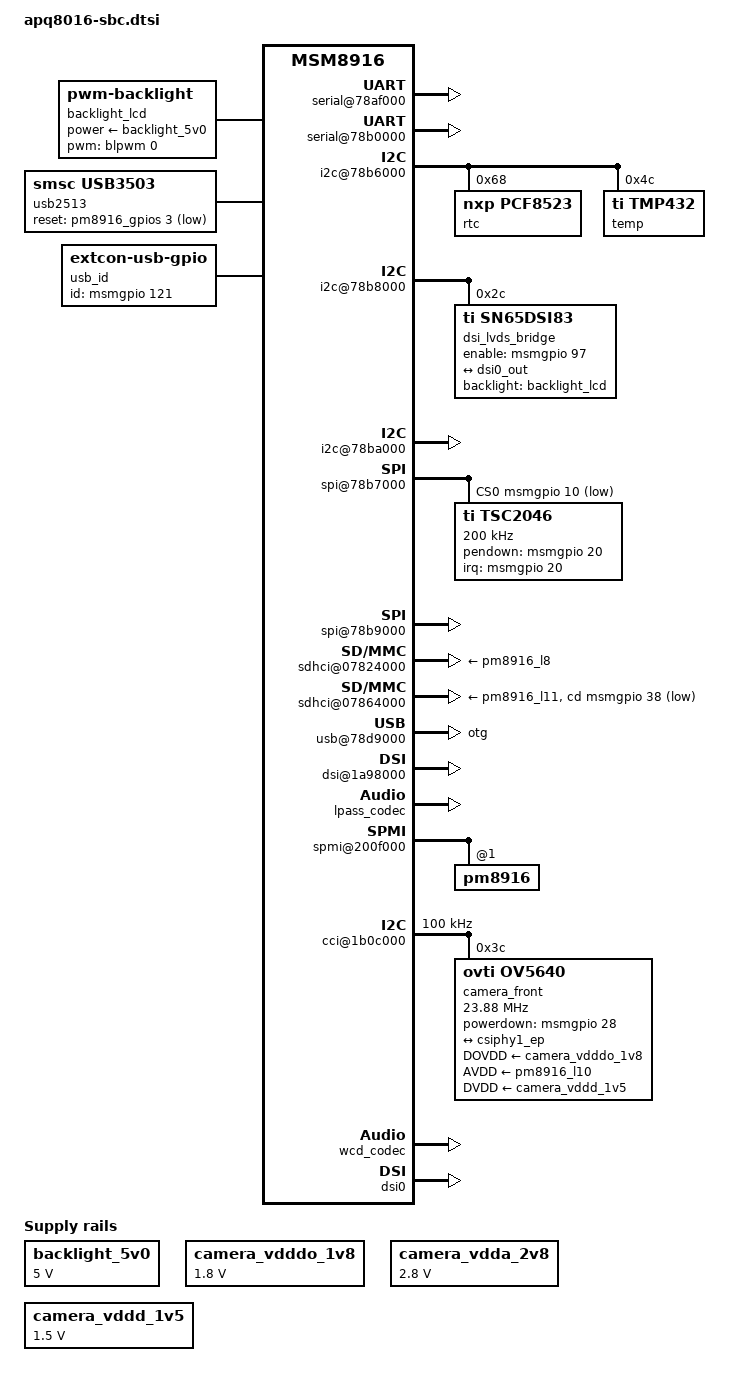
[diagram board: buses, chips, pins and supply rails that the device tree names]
/*
 * Copyright (c) 2015, The Linux Foundation. All rights reserved.
 *
 * This program is free software; you can redistribute it and/or modify
 * it under the terms of the GNU General Public License version 2 and
 * only version 2 as published by the Free Software Foundation.
 *
 * This program is distributed in the hope that it will be useful,
 * but WITHOUT ANY WARRANTY; without even the implied warranty of
 * MERCHANTABILITY or FITNESS FOR A PARTICULAR PURPOSE.  See the
 * GNU General Public License for more details.
 */

#include "msm8916.dtsi"
#include "pm8916.dtsi"
#include "apq8016-sbc-soc-pins.dtsi"
#include "apq8016-sbc-pmic-pins.dtsi"
#include <dt-bindings/gpio/gpio.h>
#include <dt-bindings/input/input.h>
#include <dt-bindings/sound/apq8016-lpass.h>

/ {
	aliases {
		serial0 = &blsp1_uart2;
		serial1 = &blsp1_uart1;
		usid0 = &pm8916_0;
		i2c0	= &blsp_i2c2;
		i2c1	= &blsp_i2c6;
		i2c3	= &blsp_i2c4;
		spi0	= &blsp_spi5;
		spi1	= &blsp_spi3;
	};

	chosen {
		stdout-path = "serial0";
	};

	reserved-memory {
		ramoops@bff00000{
			compatible = "ramoops";
			reg = <0x0 0xbff00000 0x0 0x100000>;

			record-size = <0x20000>;
			console-size = <0x20000>;
			ftrace-size = <0x20000>;
		};
	};


    backlight_5v0: fixedregulator@3 {
        compatible = "regulator-fixed";
        regulator-name = "backlight_5v0";
        regulator-min-microvolt = <5000000>;
        regulator-max-microvolt = <5000000>;
        regulator-always-on;
        status = "okay";
    };

    backlight_lcd: backlight {
        compatible = "pwm-backlight";
        pwms = <&blpwm 0 50000 >;
		brightness-levels = < 0  1  2  3  4  5  6  7  8  9
				     10 11 12 13 14 15 16 17 18 19
				     20 21 22 23 24 25 26 27 28 29
				     30 31 32 33 34 35 36 37 38 39
				     40 41 42 43 44 45 46 47 48 49
				     50 51 52 53 54 55 56 57 58 59
				     60 61 62 63 64 65 66 67 68 69
				     70 71 72 73 74 75 76 77 78 79
				     80 81 82 83 84 85 86 87 88 89
				     90 91 92 93 94 95 96 97 98 99
				    100>;
		default-brightness-level = <90>;
        power-supply = <&backlight_5v0>;        
        status = "okay";
    };


	soc {
		dma@7884000 {
			status = "okay";
		};

		serial@78af000 {
			label = "LS-UART0";
			status = "okay";
			pinctrl-names = "default", "sleep";
			pinctrl-0 = <&blsp1_uart1_default>;
			pinctrl-1 = <&blsp1_uart1_sleep>;
		};

		serial@78b0000 {
			label = "LS-UART1";
			status = "okay";
			pinctrl-names = "default", "sleep";
			pinctrl-0 = <&blsp1_uart2_default>;
			pinctrl-1 = <&blsp1_uart2_sleep>;
		};

		/* I2C-0 */
		i2c@78b6000 {
		/* On Low speed expansion */
			label = "LS-I2C0";
			status = "okay";

			/* RTC */
			rtc: pcf8523@66 {
                compatible = "nxp,pcf8523";
                reg = <0x68>;
			};

			/* Temperature sensor */
			temp: tmp432a@4c {
                compatible = "ti,tmp432", "tmp401";
                reg = <0x4c>;
			};
		};

		/* I2C-3 */
		i2c@78b8000 {
		/* On High speed expansion */
			label = "HS-I2C2";
			status = "okay";

            /* capacitive touch screens */

            pcap: ft5x06@38 {
                compatible = "focaltech,ft5x06";
                reg = <0x38>;
                interrupt-parent = <&msmgpio>;
                interrupts = <21 0>;
                reset-gpio = <&msmgpio 60 1>;
                linux,wakeup;
                status = "disabled";
            };

            pcap2: ilitek@41 {
                compatible = "tchip,ilitek";
                reg = <0x41>;
                interrupt-parent = <&msmgpio>;
                interrupts = <21 0>;
                touch-gpio = <&msmgpio 21 0>;
                reset-gpio = <&msmgpio 60 1>;
                linux,wakeup;
                status = "disabled";
            };

            pcap3: eeti@2a {
                compatible = "eeti,egalax_i2c";
                reg = <0x2A>;
                interrupt-parent = <&msmgpio>;
                interrupts = <21 0>;
                int-gpios = <&msmgpio 21 0>;
                linux,wakeup;
                status = "disabled";
            };

            /* DSI to LVDS bridge */
			dsi_lvds_bridge: sn65dsi83@2c {
				compatible = "ti,sn65dsi83";
				reg = <0x2c>;
				ti,dsi-lanes = <4>;
				ti,lvds-format = <1>;
				ti,lvds-bpp = <24>;
				ti,width-mm = <197>;
				ti,height-mm = <147>;
				enable-gpios = <&msmgpio 97 GPIO_ACTIVE_HIGH>;
				pinctrl-names = "default", "sleep";
				pinctrl-0 = <&sn65dsi83_int_active>;
				pinctrl-1 = <&sn65dsi83_int_suspend>;
				status = "okay";

                backlight = <&backlight_lcd>;

				ports {
					#address-cells = <1>;
					#size-cells = <0>;

					port@0 {
						reg = <0>;
						sn65dsi83_in: endpoint {
							remote-endpoint = <&dsi0_out>;
						};
					};
				};

				/* timings set individually in board specific DTS files */
				display-timings {

					lvds:lvds{
					};

				};
				
			};
		};

		/* I2C-1 */
		i2c@78ba000 {
		/* On Low speed expansion */
			label = "LS-I2C1";
			status = "okay";
		};

		spi@78b7000 {
		/* On High speed expansion */
			label = "HS-SPI1";
			status = "okay";
			num-cs = <2>;
			cs-gpios = <&msmgpio 10 GPIO_ACTIVE_LOW>,
                       <&msmgpio 69 GPIO_ACTIVE_LOW>;
			spi-max-frequency = <200000>;

			/* resistive touch screen */
			tsc2046: tsc2046@0 {
				compatible = "ti,tsc2046";
				reg = <0>;
				spi-max-frequency = <200000>;
				pinctrl-names ="default";
				pinctrl-0 = <&restouch_int_active>;
				interrupt-parent = <&msmgpio>;
				interrupts = <20 0>;
				pendown-gpio = <&msmgpio 20 GPIO_ACTIVE_HIGH>;
				ti,x-min = /bits/ 16 <0>;
				ti,x-max = /bits/ 16 <0>;
				ti,y-min = /bits/ 16 <0>;
				ti,y-max = /bits/ 16 <0>;
				ti,pressure-max = /bits/ 16 <0>;
				ti,x-plate-ohms = /bits/ 16 <400>;
				wakeup-source;
			};

		};

		/* for calculating baud rate out of 24MHz crystal */
		spi2uart_clk: spi2uart_clk {
			compatible = "fixed-clock";
			#clock-cells = <0>;
			clock-frequency = <24000000>;
			clock-accuracy = <100>;
		};

		spi@78b9000 {
		/* On Low speed expansion */
			label = "LS-SPI0";
			status = "okay";
			spi-max-frequency = <1000000>;
			
			num-cs = <1>;
			cs-gpios = <&msmgpio 18 GPIO_ACTIVE_LOW>;

			spi2uart: spi2uart@0 {
				status = "disabled";
				compatible = "exar,xrm117x";
				reg = <0>; /* CS #0 */
				clocks = <&spi2uart_clk>;
				interrupt-parent = <&msmgpio>;
				interrupts = <25 0>; /* IRQ_TYPE_EDGE_FALLING */
				spi-max-frequency = <1000000>;
				pinctrl-names = "default";
				pinctrl-0 = <&xr20m1170_int_active>;
			};
		};

		sdhci@07824000 {
			vmmc-supply = <&pm8916_l8>;
			vqmmc-supply = <&pm8916_l5>;

			pinctrl-names = "default", "sleep";
			pinctrl-0 = <&sdc1_clk_on &sdc1_cmd_on &sdc1_data_on>;
			pinctrl-1 = <&sdc1_clk_off &sdc1_cmd_off &sdc1_data_off>;
			status = "okay";
		};

		sdhci@07864000 {
			vmmc-supply = <&pm8916_l11>;
			vqmmc-supply = <&pm8916_l12>;

			pinctrl-names = "default", "sleep";
			pinctrl-0 = <&sdc2_clk_on &sdc2_cmd_on &sdc2_data_on &sdc2_cd_on>;
			pinctrl-1 = <&sdc2_clk_off &sdc2_cmd_off &sdc2_data_off &sdc2_cd_off>;

			cd-gpios = <&msmgpio 38 0x1>;
			status = "okay";
		};

		usb@78d9000 {
			extcon = <&usb_id>, <&usb_id>;
			status = "okay";
			adp-disable;
			hnp-disable;
			srp-disable;
			dr_mode = "otg";
			pinctrl-names = "default", "device";
			pinctrl-0 = <&usb_sw_sel_pm &usb_hub_reset_pm &usb_eth_default>;
			pinctrl-1 = <&usb_sw_sel_pm_device &usb_hub_reset_pm_device &usb_eth_off>;
			ulpi {
				phy {
					v1p8-supply = <&pm8916_l7>;
					v3p3-supply = <&pm8916_l13>;
					extcon = <&usb_id>;
				};
			};
		};

		mdss@1a00000 {
			status = "okay";

			mdp@1a01000 {
				status = "okay";
			};

			dsi@1a98000 {
				status = "okay";

				vdda-supply = <&pm8916_l2>;
				vddio-supply = <&pm8916_l6>;

			};

			dsi-phy@1a98300 {
				status = "okay";

				vddio-supply = <&pm8916_l6>;
			};
		};

		lpass_codec: codec{
			status = "okay";
		};

		lpass@07708000 {
			status = "okay";
		};

		/*
		Internal Codec
			playback - Primary MI2S
			capture - Ter MI2S

		External Primary:
			playback - secondary MI2S
			capture - Quat MI2S

		External Secondary:
			playback - Quat MI2S
			capture - Quat MI2S

		*/

                sound: sound {
                        compatible = "qcom,apq8016-sbc-sndcard";
                        reg = <0x07702000 0x4>, <0x07702004 0x4>;
                        reg-names = "mic-iomux", "spkr-iomux";

                        status = "okay";

                        pinctrl-0 = <&cdc_pdm_lines_act &ext_mclk_tlmm_lines_act>;
                        pinctrl-1 = <&cdc_pdm_lines_sus &ext_mclk_tlmm_lines_sus>;

                        pinctrl-names = "default", "sleep";
                        qcom,model = "DB1";
                        qcom,audio-routing =	
								"AMIC2", "MIC BIAS Internal2",
								"AMIC3", "MIC BIAS External1";
                                


                        internal-codec-playback-dai-link@0 {            /* I2S - Internal codec */
                                link-name = "WCD";
                                cpu {  /* PRIMARY */
                                        sound-dai = <&lpass MI2S_PRIMARY>;
                                };
                                codec {
                                        sound-dai = <&lpass_codec 0>, <&wcd_codec 0>;
                                };

                        };

                        internal-codec-capture-dai-link@0 {             /* I2S - Internal codec */
                                link-name = "WCD-Capture";
                                cpu { /* PRIMARY */
                                        sound-dai = <&lpass MI2S_TERTIARY>;
                                };
                                codec {
                                        sound-dai = <&lpass_codec 1>, <&wcd_codec 1>;
                                };
                        };
                };

		spmi@200f000 {
			pm8916@1 {
				blpwm: pwm@bc00 {
					status = "okay";

					pinctrl-names = "default";
					pinctrl-0 = <&ls_exp_gpio_f>;
				};
			};
		};

		wcnss@a21b000 {
			status = "okay";
		};

		camera_vdddo_1v8: fixedregulator@0 {
			compatible = "regulator-fixed";
			regulator-name = "camera_vdddo";
			regulator-min-microvolt = <1800000>;
			regulator-max-microvolt = <1800000>;
			regulator-always-on;
		};

		camera_vdda_2v8: fixedregulator@1 {
			compatible = "regulator-fixed";
			regulator-name = "camera_vdda";
			regulator-min-microvolt = <2800000>;
			regulator-max-microvolt = <2800000>;
			regulator-always-on;
		};

		camera_vddd_1v5: fixedregulator@2 {
			compatible = "regulator-fixed";
			regulator-name = "camera_vddd";
			regulator-min-microvolt = <1500000>;
			regulator-max-microvolt = <1500000>;
			regulator-always-on;
		};

		cci@1b0c000 {
			status = "okay";
			clock-frequency = <100000>;

			camera_front: camera_front@3c {
				compatible = "ovti,ov5640";
				reg = <0x3c>; /* 3c or 7C ? */

				/*
				reset-gpios = <&msmgpio 33 GPIO_ACTIVE_LOW>;
				*/
				
				powerdown-gpios = <&msmgpio 28 GPIO_ACTIVE_HIGH>;

				pinctrl-names = "default";
				pinctrl-0 = <&camera_front_default>;

				clocks = <&gcc GCC_CAMSS_MCLK0_CLK>;
				clock-names = "xclk";
				clock-frequency = <23880000>;

				/*
				DOVDD-supply = <&camera_vdddo_1v8>;
				AVDD-supply = <&camera_vdda_2v8>;
				DVDD-supply = <&camera_vddd_1v5>;
				*/
				

				DOVDD-supply = <&camera_vdddo_1v8>;
				AVDD-supply = <&pm8916_l10>;
				DVDD-supply = <&camera_vddd_1v5>;

				/*
				status = "disabled";
				*/
				
				port {
					ov5640_2_ep: endpoint {
						clock-lanes = <1>;
						data-lanes = <0 2>;
						remote-endpoint = <&csiphy1_ep>;
					};
				};
			};
		};

		camss@1b00000 {
			status = "okay";
			ports {
				#address-cells = <1>;
				#size-cells = <0>;

				port@0 {
					reg = <0>;
					csiphy1_ep: endpoint {
						clock-lanes = <1>;
						data-lanes = <0 2>;
						remote-endpoint = <&ov5640_2_ep>;
						/*
						status = "disabled";
						*/
					};
				};

			};

		};
	};

	usb2513 {
		compatible = "smsc,usb3503";
		reset-gpios = <&pm8916_gpios 3 GPIO_ACTIVE_LOW>;
		initial-mode = <1>;
	};



	usb_id: usb-id {
		compatible = "linux,extcon-usb-gpio";
		id-gpio = <&msmgpio 121 GPIO_ACTIVE_HIGH>;
		pinctrl-names = "default";
		pinctrl-0 = <&usb_id_default>;
	};

/*
	gpio_keys {
		compatible = "gpio-keys";
		#address-cells = <1>;
		#size-cells = <0>;
		autorepeat;

		pinctrl-names = "default";
		pinctrl-0 = <&msm_key_volp_n_default>;

		button@0 {
			label = "Volume Up";
			linux,code = <KEY_VOLUMEUP>;
			gpios = <&msmgpio 107 GPIO_ACTIVE_LOW>;
		};
	};
*/

};

&wcd_codec {
        status = "okay";
        clocks = <&gcc GCC_CODEC_DIGCODEC_CLK>;
        clock-names = "mclk";
};

&smd_rpm_regulators {
	vdd_l1_l2_l3-supply = <&pm8916_s3>;
	vdd_l5-supply = <&pm8916_s3>;
	vdd_l4_l5_l6-supply = <&pm8916_s4>;
	vdd_l7-supply = <&pm8916_s4>;

	s1 {
		regulator-min-microvolt = <375000>;
		regulator-max-microvolt = <1562000>;
	};

	s3 {
		regulator-min-microvolt = <375000>;
		regulator-max-microvolt = <1562000>;
	};

	s4 {
		regulator-min-microvolt = <1800000>;
		regulator-max-microvolt = <1800000>;

		regulator-always-on;
		regulator-boot-on;
	};

	l1 {
		regulator-min-microvolt = <375000>;
		regulator-max-microvolt = <1525000>;
	};

	l2 {
		regulator-min-microvolt = <1200000>;
		regulator-max-microvolt = <1200000>;
	};

	l3 {
		regulator-min-microvolt = <375000>;
		regulator-max-microvolt = <1525000>;
	};

	l4 {
		regulator-min-microvolt = <1750000>;
		regulator-max-microvolt = <3337000>;
	};

	l5 {
		regulator-min-microvolt = <1750000>;
		regulator-max-microvolt = <3337000>;
	};

	l6 {
		regulator-min-microvolt = <1800000>;
		regulator-max-microvolt = <1800000>;
		regulator-always-on;
		regulator-boot-on;
	};

	l7 {
		regulator-min-microvolt = <1750000>;
		regulator-max-microvolt = <3337000>;
	};

	l8 {
		regulator-min-microvolt = <1750000>;
		regulator-max-microvolt = <3337000>;
	};

	l9 {
		regulator-min-microvolt = <1750000>;
		regulator-max-microvolt = <3337000>;
	};

	l10 {
		regulator-min-microvolt = <2800000>;
		regulator-max-microvolt = <2800000>;
		regulator-always-on;
		regulator-boot-on;
	};

	l11 {
		regulator-min-microvolt = <1750000>;
		regulator-max-microvolt = <3337000>;
		regulator-allow-set-load;
		regulator-system-load = <200000>;
	};

	l12 {
		regulator-min-microvolt = <1750000>;
		regulator-max-microvolt = <3337000>;
	};

	l13 {
		regulator-min-microvolt = <1750000>;
		regulator-max-microvolt = <3337000>;
	};

	l14 {
		regulator-min-microvolt = <1750000>;
		regulator-max-microvolt = <3337000>;
	};

	/**
	 * 1.8v required on LS expansion
	 * for mezzanine boards
	 */
	l15 {
		regulator-min-microvolt = <1750000>;
		regulator-max-microvolt = <3337000>;
		regulator-always-on;
	};

	l16 {
		regulator-min-microvolt = <1750000>;
		regulator-max-microvolt = <3337000>;
	};

	l17 {
		regulator-min-microvolt = <3300000>;
		regulator-max-microvolt = <3300000>;
	};

	l18 {
		regulator-min-microvolt = <1750000>;
		regulator-max-microvolt = <3337000>;
	};
};



&dsi0 {
	status = "okay";
};







